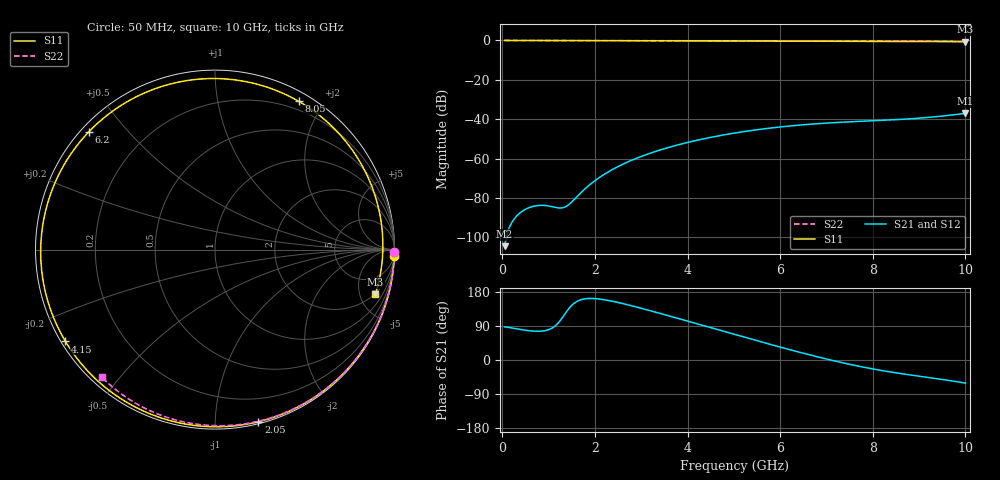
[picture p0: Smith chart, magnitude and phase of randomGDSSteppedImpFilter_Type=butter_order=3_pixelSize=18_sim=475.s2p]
! freq	dB(S11)	phase(S11)	dB(S12)	phase(S12)
!  dB(S21)	phase(S21)	dB(S22)	phase(S22)
!S-par simulation data
#  GHz  S  DB  R 50
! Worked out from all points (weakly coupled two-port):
!   200 points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, 50 MHz to 10 GHz, reference 50 ohm
!   highest |S21| = -37.04 dB at 10 GHz (marker M1); lowest = -104.5 dB at 50 MHz (marker M2)
!   lowest |S11| = -0.7 dB at 10 GHz (marker M3), VSWR 26.55, Z = 95.2 - j339 ohm
!   |S11| at or under -10 dB: nowhere
!   |S22| runs from -0.4 to 0.0 dB; largest |S21 - S12| = 0
!   S11 on the Smith chart (normalised r, x): 50 MHz: 1, -59; 2.05 GHz: 0.01, -1.28; 4.15 GHz: 0.01, -0.28; 6.2 GHz: 0.02, +0.39; 8.05 GHz: 0.10, +1.71; 10 GHz: 1.90, -6.78
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0.05  -0.00 -1.9  -104.53 87.3  -104.53 87.3  -0.00 -0.8
0.75  -0.03 -28.4  -83.93 75.8  -83.93 75.8  -0.01 -11.4
1.55  -0.07 -57.9  -80.87 149.7  -80.87 149.7  -0.03 -23.3
1.6  -0.07 -59.7  -79.66 153.8  -79.66 153.8  -0.03 -24.1
1.75  -0.08 -65.1  -76.17 160.7  -76.17 160.7  -0.03 -26.3
2.05  -0.09 -75.8  -70.39 161.5  -70.39 161.5  -0.04 -30.7
2.7  -0.12 -98.6  -61.83 145.9  -61.83 145.9  -0.05 -40.1
3.4  -0.16 -122.7  -55.71 123.2  -55.71 123.2  -0.07 -50.0
4.15  -0.20 -148.4  -51.00 97.4  -51.00 97.4  -0.08 -60.4
4.6  -0.22 -164.0  -48.79 81.8  -48.79 81.8  -0.10 -66.4
5.05  -0.25 -180.0  -46.92 66.2  -46.92 66.2  -0.11 -72.4
5.6  -0.29 159.9  -45.06 47.4  -45.06 47.4  -0.13 -79.5
6.2  -0.34 137.0  -43.47 27.5  -43.47 27.5  -0.16 -87.1
6.7  -0.38 117.0  -42.47 11.6  -42.47 11.6  -0.18 -93.2
7.05  -0.40 102.6  -41.91 1.1  -41.91 1.1  -0.20 -97.5
7.4  -0.42 88.0  -41.46 -8.7  -41.46 -8.7  -0.22 -101.7
8.05  -0.46 60.6  -40.76 -24.7  -40.76 -24.7  -0.26 -109.3
8.35  -0.47 48.1  -40.43 -31.0  -40.43 -31.0  -0.29 -112.8
8.75  -0.50 31.7  -39.90 -38.5  -39.90 -38.5  -0.32 -117.4
9.15  -0.53 15.8  -39.20 -45.4  -39.20 -45.4  -0.36 -122.0
9.55  -0.58 0.6  -38.29 -52.3  -38.29 -52.3  -0.40 -126.5
10  -0.65 -15.6  -37.04 -60.9  -37.04 -60.9  -0.45 -131.6
